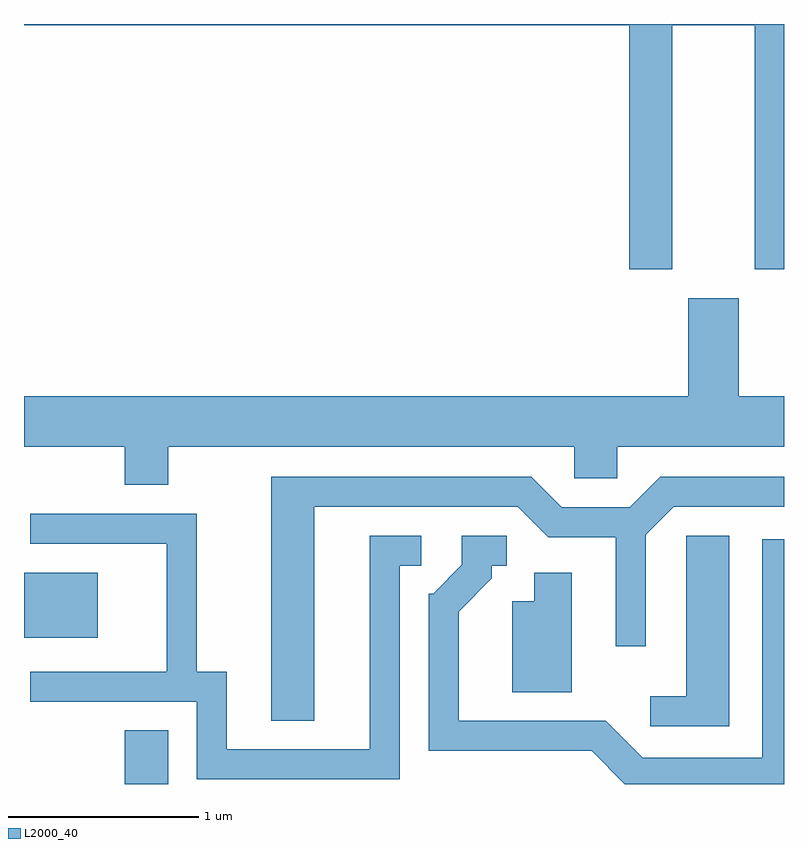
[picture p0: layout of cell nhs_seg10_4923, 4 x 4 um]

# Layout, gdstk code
import gdstk
lib = gdstk.Library(unit=1e-6, precision=1e-09)
def R(c, l, rs):  # rectangles x0, y0, x1, y1
    for r in rs: c.add(gdstk.rectangle(r[:2], r[2:], *l))
def P(c, l, *ps):  # polygons
    for p in ps: c.add(gdstk.Polygon(p, *l))
L2000_40 = (2000, 40)

nhs_seg10_4923 = lib.new_cell('nhs_seg10_4923')
R(nhs_seg10_4923, L2000_40, [(330.141,2176.522,330.369,2176.804), (329.611,2177.291,329.999,2177.634)])
P(nhs_seg10_4923, L2000_40, [(333.024,2180.516),(333.456,2180.516),(333.456,2179.231),(333.611,2179.231),(333.611,2180.522),(329.611,2180.522),(329.611,2180.516),(332.796,2180.516),(332.796,2179.231),(333.024,2179.231)],
  [(330.369,2178.296),(332.506,2178.296),(332.506,2178.131),(332.734,2178.131),(332.734,2178.296),(333.611,2178.296),(333.611,2178.564),(333.374,2178.564),(333.374,2179.079),(333.106,2179.079),(333.106,2178.564),(329.611,2178.564),(329.611,2178.296),(330.141,2178.296),(330.141,2178.096),(330.369,2178.096)],
  [(331.139,2177.981),(332.209,2177.981),(332.369,2177.821),(332.726,2177.821),(332.726,2177.248),(332.884,2177.248),(332.884,2177.834),(333.032,2177.981),(333.611,2177.981),(333.611,2178.139),(332.959,2178.139),(332.799,2177.979),(332.442,2177.979),(332.282,2178.139),(330.911,2178.139),(330.911,2176.856),(331.139,2176.856)],
  [(331.589,2177.671),(331.703,2177.671),(331.703,2177.829),(331.431,2177.829),(331.431,2176.704),(330.679,2176.704),(330.679,2177.114),(330.519,2177.114),(330.519,2177.944),(329.643,2177.944),(329.643,2177.786),(330.361,2177.786),(330.361,2177.114),(329.643,2177.114),(329.643,2176.956),(330.521,2176.956),(330.521,2176.546),(331.589,2176.546)],
  [(333.611,2177.809),(333.496,2177.809),(333.496,2176.659),(332.867,2176.659),(332.672,2176.854),(331.899,2176.854),(331.899,2177.429),(332.074,2177.604),(332.074,2177.671),(332.153,2177.671),(332.153,2177.829),(331.916,2177.829),(331.916,2177.677),(331.764,2177.524),(331.741,2177.524),(331.741,2176.696),(332.599,2176.696),(332.773,2176.522),(333.611,2176.522)],
  [(333.324,2177.829),(333.096,2177.829),(333.096,2176.984),(332.908,2176.984),(332.908,2176.826),(333.324,2176.826)],
  [(332.494,2177.634),(332.296,2177.634),(332.296,2177.484),(332.181,2177.484),(332.181,2177.006),(332.494,2177.006)])

lib.write_gds('nhs_seg10_4923.gds')
